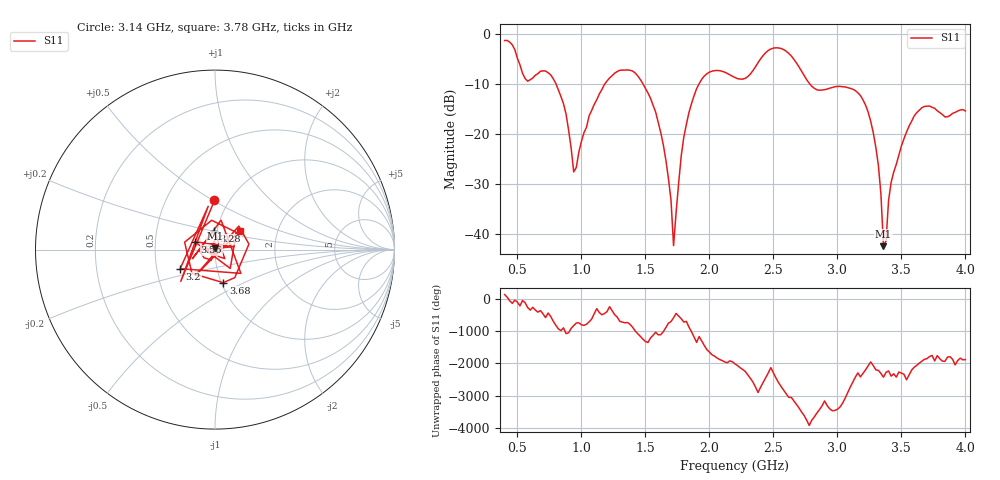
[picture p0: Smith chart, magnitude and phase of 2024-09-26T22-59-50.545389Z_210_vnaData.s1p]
!Created with skrf (http://scikit-rf.org).
# Hz S RI R 50.0
!freq ReS11 ImS11
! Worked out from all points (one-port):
!   181 points, 400 MHz to 4 GHz, reference 50 ohm
!   lowest |S11| = -42.4 dB at 3.36 GHz (marker M1), VSWR 1.02, Z = 50 + j0.756 ohm
!   |S11| at or under -10 dB: 802.9 MHz to 1.18 GHz (377.4 MHz wide, 38.1 % of centre); 1.483 GHz to 1.917 GHz (434.4 MHz wide, 25.6 % of centre); 2.787 GHz to end of sweep
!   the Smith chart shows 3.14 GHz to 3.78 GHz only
!   S11 on the Smith chart (normalised r, x): 3.14 GHz: 0.86, +0.51; 3.2 GHz: 0.66, -0.15; 3.28 GHz: 0.97, +0.20; 3.56 GHz: 0.79, +0.07; 3.68 GHz: 1.02, -0.39; 3.78 GHz: 1.28, +0.28
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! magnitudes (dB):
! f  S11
! 400 MHz  -1.2
! 580 MHz  -9.4
! 720 MHz  -7.3
! 860 MHz  -13.9
! 940 MHz  -27.5
! 1.1 GHz  -14.0
! 1.3 GHz  -7.2
! 1.58 GHz  -15.5
! 1.68 GHz  -28.9
! 1.72 GHz  -42.3
! 1.76 GHz  -29.7
! 1.82 GHz  -18.0
! 1.92 GHz  -9.9
! 2.2 GHz  -8.6
! 2.5 GHz  -2.7
! 2.66 GHz  -5.0
! 2.84 GHz  -11.1
! 3.1 GHz  -10.8
! 3.14 GHz  -11.2
! 3.2 GHz  -13.1
! 3.28 GHz  -19.7
! 3.32 GHz  -26.2
! 3.36 GHz  -42.4
! 3.42 GHz  -29.6
! 3.56 GHz  -18.4
! 3.68 GHz  -14.4
! 3.78 GHz  -15.3
! 4 GHz  -15.3
